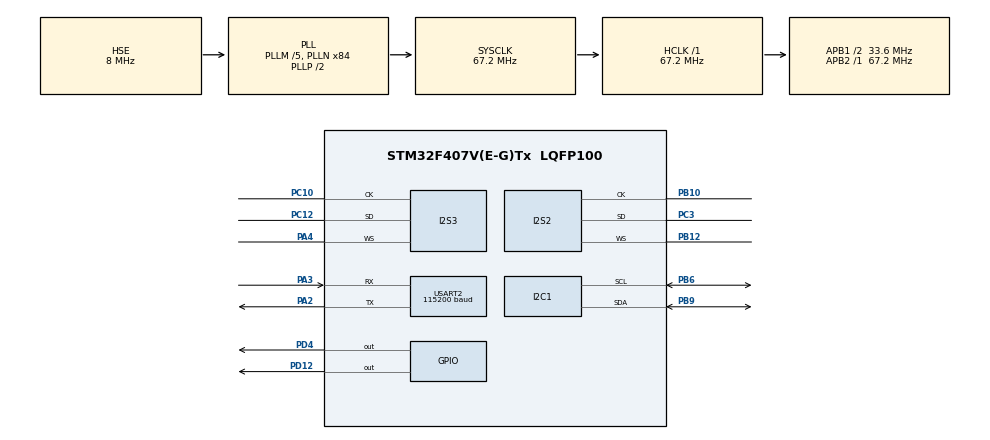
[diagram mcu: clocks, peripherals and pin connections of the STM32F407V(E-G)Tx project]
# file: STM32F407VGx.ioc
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Dma.Request0=SPI2_RX
Dma.Request1=SPI3_TX
Dma.Request2=USART2_TX
Dma.SPI2_RX.0.Direction=DMA_PERIPH_TO_MEMORY
Dma.SPI2_RX.0.FIFOMode=DMA_FIFOMODE_DISABLE
Dma.SPI2_RX.0.Instance=DMA1_Stream3
Dma.SPI2_RX.0.MemDataAlignment=DMA_MDATAALIGN_HALFWORD
Dma.SPI2_RX.0.MemInc=DMA_MINC_ENABLE
Dma.SPI2_RX.0.Mode=DMA_CIRCULAR
Dma.SPI2_RX.0.PeriphDataAlignment=DMA_PDATAALIGN_HALFWORD
Dma.SPI2_RX.0.PeriphInc=DMA_PINC_DISABLE
Dma.SPI2_RX.0.Priority=DMA_PRIORITY_HIGH
Dma.SPI3_TX.1.Direction=DMA_MEMORY_TO_PERIPH
Dma.SPI3_TX.1.FIFOMode=DMA_FIFOMODE_ENABLE
Dma.SPI3_TX.1.FIFOThreshold=DMA_FIFO_THRESHOLD_HALFFULL
Dma.SPI3_TX.1.Instance=DMA1_Stream5
Dma.SPI3_TX.1.MemBurst=DMA_MBURST_SINGLE
Dma.SPI3_TX.1.MemDataAlignment=DMA_MDATAALIGN_HALFWORD
Dma.SPI3_TX.1.MemInc=DMA_MINC_ENABLE
Dma.SPI3_TX.1.Mode=DMA_CIRCULAR
Dma.SPI3_TX.1.PeriphBurst=DMA_PBURST_SINGLE
Dma.SPI3_TX.1.PeriphDataAlignment=DMA_PDATAALIGN_HALFWORD
Dma.SPI3_TX.1.PeriphInc=DMA_PINC_DISABLE
Dma.SPI3_TX.1.Priority=DMA_PRIORITY_HIGH
Dma.USART2_TX.2.Direction=DMA_MEMORY_TO_PERIPH
Dma.USART2_TX.2.FIFOMode=DMA_FIFOMODE_DISABLE
Dma.USART2_TX.2.Instance=DMA1_Stream6
Dma.USART2_TX.2.MemDataAlignment=DMA_MDATAALIGN_BYTE
Dma.USART2_TX.2.MemInc=DMA_MINC_ENABLE
Dma.USART2_TX.2.Mode=DMA_CIRCULAR
Dma.USART2_TX.2.PeriphDataAlignment=DMA_PDATAALIGN_BYTE
Dma.USART2_TX.2.PeriphInc=DMA_PINC_DISABLE
Dma.USART2_TX.2.Priority=DMA_PRIORITY_LOW
I2S2.AudioFreq=I2S_AUDIOFREQ_16K
I2S2.DataFormat=I2S_DATAFORMAT_16B
I2S2.ErrorAudioFreq=0.0 %
I2S2.FullDuplexMode=I2S_FULLDUPLEXMODE_DISABLE
I2S2.Instance=SPI$Index
I2S2.Mode=I2S_MODE_MASTER_RX
I2S2.RealAudioFreq=16.0 KHz
I2S2.Standard=I2S_STANDARD_MSB
I2S2.VirtualMode=I2S_MODE_MASTER
I2S3.AudioFreq=I2S_AUDIOFREQ_16K
I2S3.ErrorAudioFreq=0.0 %
I2S3.FullDuplexMode=I2S_FULLDUPLEXMODE_DISABLE
I2S3.Instance=SPI$Index
I2S3.RealAudioFreq=16.0 KHz
I2S3.Standard=I2S_STANDARD_PHILIPS
I2S3.VirtualMode=I2S_MODE_MASTER
Mcu.Family=STM32F4
Mcu.Name=STM32F407V(E-G)Tx
Mcu.Package=LQFP100
NVIC.DMA1_Stream3_IRQn=true\:0\:0\:true\:false\:true\:false\:true\:true
NVIC.DMA1_Stream5_IRQn=true\:0\:0\:true\:false\:true\:false\:true\:true
NVIC.DMA1_Stream6_IRQn=true\:0\:0\:false\:false\:true\:false\:true\:true
NVIC.PriorityGroup=NVIC_PRIORITYGROUP_0
PA2.Mode=Asynchronous
PA2.Signal=USART2_TX
PA3.Mode=Asynchronous
PA3.Signal=USART2_RX
PA4.Mode=Half_Duplex_Master
PA4.Signal=I2S3_WS
PB10.GPIO_Speed=GPIO_SPEED_FREQ_VERY_HIGH
PB10.Mode=Half_Duplex_Master
PB10.Signal=I2S2_CK
PB12.Mode=Half_Duplex_Master
PB12.Signal=I2S2_WS
PB6.GPIO_Pu=GPIO_PULLUP
PB6.Mode=I2C
PB6.Signal=I2C1_SCL
PB9.GPIO_Pu=GPIO_PULLUP
PB9.Mode=I2C
PB9.Signal=I2C1_SDA
PC10.Mode=Half_Duplex_Master
PC10.Signal=I2S3_CK
PC12.Mode=Half_Duplex_Master
PC12.Signal=I2S3_SD
PC3.GPIO_Speed=GPIO_SPEED_FREQ_LOW
PC3.Mode=Half_Duplex_Master
PC3.Signal=I2S2_SD
PD12.Signal=GPIO_Output
PD4.Signal=GPIO_Output
PDM2PCM.CHANNEL1_in_ptr_channels=1
PDM2PCM.CHANNEL1_mic_gain=1
PDM2PCM.CHANNEL1_out_ptr_channels=1
PH0-OSC_IN.Mode=HSE-External-Oscillator
PH0-OSC_IN.Signal=RCC_OSC_IN
PH1-OSC_OUT.Mode=HSE-External-Oscillator
PH1-OSC_OUT.Signal=RCC_OSC_OUT
ProjectManager.HeapSize=0x200
ProjectManager.StackSize=0x400
ProjectManager.TargetToolchain=STM32CubeIDE
RCC.48MHZClocksFreq_Value=19200000
RCC.AHBFreq_Value=67200000
RCC.APB1CLKDivider=RCC_HCLK_DIV2
RCC.APB1Freq_Value=33600000
RCC.APB1TimFreq_Value=67200000
RCC.APB2Freq_Value=67200000
RCC.APB2TimFreq_Value=67200000
RCC.CortexFreq_Value=67200000
RCC.HCLKFreq_Value=67200000
RCC.HSE_VALUE=8000000
RCC.HSI_VALUE=16000000
RCC.LSE_VALUE=32768
RCC.PLLI2SR=5
RCC.PLLM=5
RCC.PLLN=84
RCC.PLLQ=7
RCC.PLLSourceVirtual=RCC_PLLSOURCE_HSE
RCC.SYSCLKFreq_VALUE=67200000
RCC.SYSCLKSource=RCC_SYSCLKSOURCE_PLLCLK
RCC.VCOOutputFreq_Value=134400000
USART2.BaudRate=115200
USART2.VirtualMode=VM_ASYNC
VP_CRC_VS_CRC.Mode=CRC_Activate
VP_PDM2PCM_VS_PDM2PCM.Mode=PDM2PCM_Channel
board=STM32F407G-DISC1

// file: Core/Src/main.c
/* USER CODE BEGIN Header */
	/**
	  ******************************************************************************
	  * @file           : main.c
	  * @brief          : Main program body
	  ******************************************************************************
	  * @attention
	  *
	  * Copyright (c) 2025 STMicroelectronics.
	  * All rights reserved.
	  *
	  * This software is licensed under terms that can be found in the LICENSE file
	  * in the root directory of this software component.
	  * If no LICENSE file comes with this software, it is provided AS-IS.
	  *
	  ******************************************************************************
	  */
/* USER CODE END Header */
#include "main.h"
#include "pdm2pcm.h"

/* USER CODE BEGIN Includes */
	#include <string.h>
	#include "stm32f4_discovery_audio.h"
	#include <math.h>
	#include <stdio.h>

/* USER CODE END Includes */

/* USER CODE BEGIN PD */
	#define AUDIO_BUFFER_SIZE_PDM 128
	#define AUDIO_BUFFER_SIZE_PCM 32
	#define AUDIO_CHIP_ADDRESS 0x4A
	#define SAMPLE_RATE 16000
	#define PI 3.14159265
	#define FREQ 2000.0  // Frequência da senoide (440Hz = Lá)
	#define AUDIO_TEST_BUFFER_SIZE 16000
	#define UART_TX_BUFFER_SIZE 2048

/* USER CODE END PD */

CRC_HandleTypeDef hcrc;

I2C_HandleTypeDef hi2c1;

I2S_HandleTypeDef hi2s2;
I2S_HandleTypeDef hi2s3;
DMA_HandleTypeDef hdma_spi2_rx;
DMA_HandleTypeDef hdma_spi3_tx;

UART_HandleTypeDef huart2;
DMA_HandleTypeDef hdma_usart2_tx;

/* USER CODE BEGIN PV */
	volatile uint8_t isAudioBufferPDMHalf = 0u;
	volatile uint8_t isAudioBufferPDMFull = 0u;
	volatile uint8_t pcm_buffer_half_free =0u;
	volatile uint8_t isI2SReadingError = 0u;
	volatile uint8_t uart_busy = 0 ;
	volatile uint8_t pcm_counter = 0;
	volatile uint8_t pcm_ready = 0;

/* USER CODE END PV */

void SystemClock_Config(void);
void PeriphCommonClock_Config(void);
static void MX_GPIO_Init(void);
static void MX_DMA_Init(void);
static void MX_I2S2_Init(void);
static void MX_USART2_UART_Init(void);
static void MX_CRC_Init(void);
static void MX_I2S3_Init(void);
static void MX_I2C1_Init(void);

/* USER CODE BEGIN 0 */
	uint16_t audioBufferPDM[AUDIO_BUFFER_SIZE_PDM];
	int16_t audioBufferPCM[AUDIO_BUFFER_SIZE_PCM];
	int16_t pcm_tx_buffer[AUDIO_BUFFER_SIZE_PCM];
	int16_t uartBufferPCM[AUDIO_BUFFER_SIZE_PCM];
	char uart_tx_buffer[UART_TX_BUFFER_SIZE];

	//esse size é a quantidade de amostras do buffer : pcmBuffer[size]
	void Format_PCM_For_Plotter(int16_t* pcmBuffer, uint16_t size)
	{
	    uint16_t len = 0;
	    for (uint16_t i = 0; i < size; i++)
	    {
	        len += snprintf(&uart_tx_buffer[len], UART_TX_BUFFER_SIZE - len, "%d\n", pcmBuffer[i]);
	        if (len >= UART_TX_BUFFER_SIZE - 8) break;
	    }
	    //HAL_GPIO_WritePin(GPIOD,GPIO_PIN_12, GPIO_PIN_SET);
	}
	void Transmit_PCM_Plotter_DMA(int16_t* pcmBuffer, uint16_t size)
		{
			Format_PCM_For_Plotter(pcmBuffer, size);
			HAL_UART_Transmit_DMA(&huart2, (uint8_t*)uart_tx_buffer, strlen(uart_tx_buffer));
		}

/* USER CODE END 0 */

int main(void)
{

  /* MCU Configuration--------------------------------------------------------*/

  /* Reset of all peripherals, Initializes the Flash interface and the Systick. */
  HAL_Init();

  /* Configure the system clock */
  SystemClock_Config();

  /* Configure the peripherals common clocks */
  PeriphCommonClock_Config();

  /* Initialize all configured peripherals */
  MX_GPIO_Init();
  MX_DMA_Init();
  MX_I2S2_Init();
  MX_USART2_UART_Init();
  MX_CRC_Init();
  MX_PDM2PCM_Init();
  MX_I2S3_Init();
  MX_I2C1_Init();
  /* USER CODE BEGIN 2 */

	  //resetando o codec

	  HAL_GPIO_WritePin(GPIOD, GPIO_PIN_4, GPIO_PIN_RESET);
	  HAL_Delay(5);
	  HAL_GPIO_WritePin(GPIOD, GPIO_PIN_4, GPIO_PIN_SET);
	  HAL_Delay(5);
	  BSP_AUDIO_OUT_Init(OUTPUT_DEVICE_HEADPHONE, 90, I2S_AUDIOFREQ_16K);
	  BSP_AUDIO_OUT_SetVolume(90);
	  memset(audioBufferPCM, 0, sizeof(audioBufferPCM)); //evita lixo eletronico zerando os bytes do buffer pcm
	  BSP_AUDIO_OUT_Play((uint16_t*)audioBufferPCM, AUDIO_BUFFER_SIZE_PCM * 2);
	  HAL_I2S_Receive_DMA(&hi2s2,(uint16_t*)audioBufferPDM, AUDIO_BUFFER_SIZE_PDM);
	  //BSP_AUDIO_OUT_Play((uint16_t*)audioTestBuffer, AUDIO_TEST_BUFFER_SIZE * 2);
	  //HAL_Delay(5000);
	  //BSP_AUDIO_OUT_SetVolume(0);

	  pcm_buffer_half_free = 1;

  /* USER CODE END 2 */

  /* Infinite loop */
  /* USER CODE BEGIN WHILE */
	  while (1)
	   {
			  if (pcm_buffer_half_free == 1)
				{

				  if (isAudioBufferPDMHalf == 1)
				  {

					PDM_Filter((uint8_t*)&audioBufferPDM[0], &audioBufferPCM[0], &PDM1_filter_handler);
					//PDM_Filter((uint8_t*)&audioBufferPDM[0], &uartBufferPCM[0], &PDM1_filter_handler);
					isAudioBufferPDMHalf = 0;
					pcm_buffer_half_free = 0;
					//pcm_counter++;

				  }
				  else if (isAudioBufferPDMFull == 1)
					 {
					   PDM_Filter((uint8_t*)&audioBufferPDM[AUDIO_BUFFER_SIZE_PDM/2], &audioBufferPCM[0], &PDM1_filter_handler);
					   //PDM_Filter((uint8_t*)&audioBufferPDM[0], &uartBufferPCM[0], &PDM1_filter_handler);
					   isAudioBufferPDMFull = 0;
					   pcm_buffer_half_free = 0;
					   //pcm_counter++;

					 }
				   }

			  if (pcm_buffer_half_free == 2)
				{

				  if (isAudioBufferPDMHalf == 1)
				  {

					PDM_Filter((uint8_t*)&audioBufferPDM[0], &audioBufferPCM[16], &PDM1_filter_handler);
					//PDM_Filter((uint8_t*)&audioBufferPDM[0], &uartBufferPCM[0], &PDM1_filter_handler);
					isAudioBufferPDMHalf = 0;
					pcm_buffer_half_free = 0;

				  }
				  else if (isAudioBufferPDMFull == 1)
				  {

					PDM_Filter((uint8_t*)&audioBufferPDM[AUDIO_BUFFER_SIZE_PDM/2], &audioBufferPCM[16], &PDM1_filter_handler);
					//PDM_Filter((uint8_t*)&audioBufferPDM[0], &uartBufferPCM[0], &PDM1_filter_handler);
					isAudioBufferPDMFull = 0;
					pcm_buffer_half_free = 0;
					pcm_counter++;
				  }
				}

		 if (isI2SReadingError)
		 {
		   isI2SReadingError = 0u;
		   HAL_GPIO_TogglePin(GPIOD, GPIO_PIN_13);
		 }
		 if(pcm_counter == 2)
		 {
			 //memcpy(pcm_tx_buffer, audioBufferPCM, sizeof(pcm_tx_buffer));//faz uma cópia do buffer pcm pro buffer tx
			 for (int i = 0; i < AUDIO_BUFFER_SIZE_PCM; i++) {
			     pcm_tx_buffer[i] = audioBufferPCM[i];
			 }
			 pcm_counter = 0;
			 pcm_ready = 1;
		 }
		 if (!uart_busy) {
			 if (pcm_ready)
			 {
				uart_busy = 1;
				pcm_ready = 0;
				//sprintf(uart_tx_buffer, "%d\n", 500);
				Format_PCM_For_Plotter(pcm_tx_buffer, AUDIO_BUFFER_SIZE_PCM);
				HAL_UART_Transmit_DMA(&huart2, (uint8_t*)uart_tx_buffer, strlen(uart_tx_buffer));

			 }
		 }

    /* USER CODE END WHILE */

	   }
}

void SystemClock_Config(void)
{
  RCC_OscInitTypeDef RCC_OscInitStruct = {0};
  RCC_ClkInitTypeDef RCC_ClkInitStruct = {0};

  /** Configure the main internal regulator output voltage
  */
  __HAL_RCC_PWR_CLK_ENABLE();
  __HAL_PWR_VOLTAGESCALING_CONFIG(PWR_REGULATOR_VOLTAGE_SCALE1);

  /** Initializes the RCC Oscillators according to the specified parameters
  * in the RCC_OscInitTypeDef structure.
  */
  RCC_OscInitStruct.OscillatorType = RCC_OSCILLATORTYPE_HSE;
  RCC_OscInitStruct.HSEState = RCC_HSE_ON;
  RCC_OscInitStruct.PLL.PLLState = RCC_PLL_ON;
  RCC_OscInitStruct.PLL.PLLSource = RCC_PLLSOURCE_HSE;
  RCC_OscInitStruct.PLL.PLLM = 5;
  RCC_OscInitStruct.PLL.PLLN = 84;
  RCC_OscInitStruct.PLL.PLLP = RCC_PLLP_DIV2;
  RCC_OscInitStruct.PLL.PLLQ = 7;
  if (HAL_RCC_OscConfig(&RCC_OscInitStruct) != HAL_OK)
  {
    Error_Handler();
  }

  /** Initializes the CPU, AHB and APB buses clocks
  */
  RCC_ClkInitStruct.ClockType = RCC_CLOCKTYPE_HCLK|RCC_CLOCKTYPE_SYSCLK
                              |RCC_CLOCKTYPE_PCLK1|RCC_CLOCKTYPE_PCLK2;
  RCC_ClkInitStruct.SYSCLKSource = RCC_SYSCLKSOURCE_PLLCLK;
  RCC_ClkInitStruct.AHBCLKDivider = RCC_SYSCLK_DIV1;
  RCC_ClkInitStruct.APB1CLKDivider = RCC_HCLK_DIV2;
  RCC_ClkInitStruct.APB2CLKDivider = RCC_HCLK_DIV1;

  if (HAL_RCC_ClockConfig(&RCC_ClkInitStruct, FLASH_LATENCY_2) != HAL_OK)
  {
    Error_Handler();
  }
}

void PeriphCommonClock_Config(void)
{
  RCC_PeriphCLKInitTypeDef PeriphClkInitStruct = {0};

  /** Initializes the peripherals clock
  */
  PeriphClkInitStruct.PeriphClockSelection = RCC_PERIPHCLK_I2S;
  PeriphClkInitStruct.PLLI2S.PLLI2SN = 192;
  PeriphClkInitStruct.PLLI2S.PLLI2SR = 5;
  if (HAL_RCCEx_PeriphCLKConfig(&PeriphClkInitStruct) != HAL_OK)
  {
    Error_Handler();
  }
}

static void MX_CRC_Init(void)
{

  hcrc.Instance = CRC;
  if (HAL_CRC_Init(&hcrc) != HAL_OK)
  {
    Error_Handler();
  }
  __HAL_CRC_DR_RESET(&hcrc);

}

static void MX_I2C1_Init(void)
{

  hi2c1.Instance = I2C1;
  hi2c1.Init.ClockSpeed = 100000;
  hi2c1.Init.DutyCycle = I2C_DUTYCYCLE_2;
  hi2c1.Init.OwnAddress1 = 0;
  hi2c1.Init.AddressingMode = I2C_ADDRESSINGMODE_7BIT;
  hi2c1.Init.DualAddressMode = I2C_DUALADDRESS_DISABLE;
  hi2c1.Init.OwnAddress2 = 0;
  hi2c1.Init.GeneralCallMode = I2C_GENERALCALL_DISABLE;
  hi2c1.Init.NoStretchMode = I2C_NOSTRETCH_DISABLE;
  if (HAL_I2C_Init(&hi2c1) != HAL_OK)
  {
    Error_Handler();
  }

}

static void MX_I2S2_Init(void)
{

  hi2s2.Instance = SPI2;
  hi2s2.Init.Mode = I2S_MODE_MASTER_RX;
  hi2s2.Init.Standard = I2S_STANDARD_MSB;
  hi2s2.Init.DataFormat = I2S_DATAFORMAT_16B;
  hi2s2.Init.MCLKOutput = I2S_MCLKOUTPUT_DISABLE;
  hi2s2.Init.AudioFreq = I2S_AUDIOFREQ_16K;
  hi2s2.Init.CPOL = I2S_CPOL_LOW;
  hi2s2.Init.ClockSource = I2S_CLOCK_PLL;
  hi2s2.Init.FullDuplexMode = I2S_FULLDUPLEXMODE_DISABLE;
  if (HAL_I2S_Init(&hi2s2) != HAL_OK)
  {
    Error_Handler();
  }

}

static void MX_I2S3_Init(void)
{

  hi2s3.Instance = SPI3;
  hi2s3.Init.Mode = I2S_MODE_MASTER_TX;
  hi2s3.Init.Standard = I2S_STANDARD_PHILIPS;
  hi2s3.Init.DataFormat = I2S_DATAFORMAT_16B;
  hi2s3.Init.MCLKOutput = I2S_MCLKOUTPUT_DISABLE;
  hi2s3.Init.AudioFreq = I2S_AUDIOFREQ_16K;
  hi2s3.Init.CPOL = I2S_CPOL_LOW;
  hi2s3.Init.ClockSource = I2S_CLOCK_PLL;
  hi2s3.Init.FullDuplexMode = I2S_FULLDUPLEXMODE_DISABLE;
  if (HAL_I2S_Init(&hi2s3) != HAL_OK)
  {
    Error_Handler();
  }

}

static void MX_USART2_UART_Init(void)
{

  huart2.Instance = USART2;
  huart2.Init.BaudRate = 115200;
  huart2.Init.WordLength = UART_WORDLENGTH_8B;
  huart2.Init.StopBits = UART_STOPBITS_1;
  huart2.Init.Parity = UART_PARITY_NONE;
  huart2.Init.Mode = UART_MODE_TX_RX;
  huart2.Init.HwFlowCtl = UART_HWCONTROL_NONE;
  huart2.Init.OverSampling = UART_OVERSAMPLING_16;
  if (HAL_UART_Init(&huart2) != HAL_OK)
  {
    Error_Handler();
  }

}

static void MX_DMA_Init(void)
{

  /* DMA controller clock enable */
  __HAL_RCC_DMA1_CLK_ENABLE();

  /* DMA interrupt init */
  /* DMA1_Stream3_IRQn interrupt configuration */
  HAL_NVIC_SetPriority(DMA1_Stream3_IRQn, 0, 0);
  HAL_NVIC_EnableIRQ(DMA1_Stream3_IRQn);
  /* DMA1_Stream5_IRQn interrupt configuration */
  HAL_NVIC_SetPriority(DMA1_Stream5_IRQn, 0, 0);
  HAL_NVIC_EnableIRQ(DMA1_Stream5_IRQn);
  /* DMA1_Stream6_IRQn interrupt configuration */
  HAL_NVIC_SetPriority(DMA1_Stream6_IRQn, 0, 0);
  HAL_NVIC_EnableIRQ(DMA1_Stream6_IRQn);

}

static void MX_GPIO_Init(void)
{
  GPIO_InitTypeDef GPIO_InitStruct = {0};

  /* GPIO Ports Clock Enable */
  __HAL_RCC_GPIOH_CLK_ENABLE();
  __HAL_RCC_GPIOC_CLK_ENABLE();
  __HAL_RCC_GPIOA_CLK_ENABLE();
  __HAL_RCC_GPIOB_CLK_ENABLE();
  __HAL_RCC_GPIOD_CLK_ENABLE();

  /*Configure GPIO pin Output Level */
  HAL_GPIO_WritePin(GPIOD, GPIO_PIN_12|GPIO_PIN_4, GPIO_PIN_RESET);

  /*Configure GPIO pins : PD12 PD4 */
  GPIO_InitStruct.Pin = GPIO_PIN_12|GPIO_PIN_4;
  GPIO_InitStruct.Mode = GPIO_MODE_OUTPUT_PP;
  GPIO_InitStruct.Pull = GPIO_NOPULL;
  GPIO_InitStruct.Speed = GPIO_SPEED_FREQ_LOW;
  HAL_GPIO_Init(GPIOD, &GPIO_InitStruct);

}

/* USER CODE BEGIN 4 */
	void HAL_I2S_RxHalfCpltCallback(I2S_HandleTypeDef *hi2s)
	{
		isAudioBufferPDMHalf = 1;

	}

	void HAL_I2S_RxCpltCallback(I2S_HandleTypeDef *hi2s)
	{

		isAudioBufferPDMFull = 1;

	}

	void HAL_I2S_ErrorCallback(I2S_HandleTypeDef *hi2s)
	{
		isI2SReadingError = 1u;
	}
	void BSP_AUDIO_OUT_HalfTransfer_CallBack(void)
	{
		pcm_buffer_half_free = 1; // Sinaliza que a PRIMEIRA metade está livre
	}
	void BSP_AUDIO_OUT_TransferComplete_CallBack(void)
	{
		pcm_buffer_half_free = 2; // Sinaliza que a SEGUNDA metade está livre
	}
	void BSP_AUDIO_OUT_Error_CallBack(void)
	{

	  HAL_GPIO_WritePin(GPIOD, GPIO_PIN_14, GPIO_PIN_SET);
	  Error_Handler();
	}
	void HAL_UART_TxCpltCallback(UART_HandleTypeDef *huart)
	{
		if (huart->Instance == USART2)
		{
			uart_busy = 0;
			//HAL_GPIO_WritePin(GPIOD, GPIO_PIN_12,GPIO_PIN_SET);
		}
	}

/* USER CODE END 4 */

void Error_Handler(void)
{
	  __disable_irq();
	  while (1)
	  {
	  }
}
